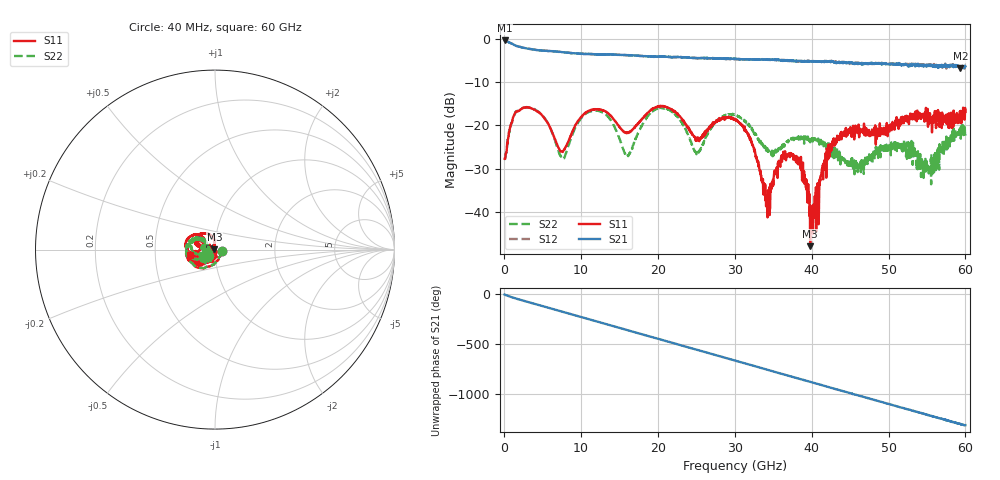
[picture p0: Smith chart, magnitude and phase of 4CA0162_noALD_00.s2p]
! File created by 'SoftPlot +Plus+ Measurement Management Software'
! SoftPlot +Plus+ Measurement Management Software
! Start 40.000000 MHz  Stop 60.000000 GHz  Points 1601
# MHZ S RI R 50
! S-Parameter data, F S11 S21 S12 S22
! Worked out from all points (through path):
!   1601 points, 40 MHz to 60 GHz, reference 50 ohm
!   highest |S21| = -0.39 dB at 40 MHz (marker M1); lowest = -6.8 dB at 59.36 GHz (marker M2)
!   group delay of S21, straight-line fit = 60.4 ps
!   lowest |S11| = -47.8 dB at 39.8 GHz (marker M3), VSWR 1.01, Z = 49.6 + j0.173 ohm
!   |S11| at or under -10 dB: start of sweep to end of sweep
!   |S22| runs from -33.6 to -15.8 dB; largest |S21 - S12| = 0.049
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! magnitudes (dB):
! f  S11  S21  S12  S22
! 40 MHz  -27.7  -0.4  -0.4  -27.7
! 2.214 GHz  -16.2  -1.9  -1.9  -16.2
! 4.987 GHz  -17.8  -2.7  -2.7  -17.7
! 7.572 GHz  -26.1  -3.1  -3.1  -27.6
! 10.05 GHz  -18.0  -3.5  -3.5  -18.2
! 13.16 GHz  -16.8  -3.7  -3.6  -17.4
! 16.04 GHz  -21.7  -3.8  -3.8  -27.0
! 20.05 GHz  -15.6  -4.1  -4.1  -16.0
! 25.04 GHz  -22.9  -4.5  -4.4  -26.3
! 30.02 GHz  -18.7  -4.6  -4.6  -17.5
! 32.23 GHz  -24.2  -4.8  -4.7  -20.6
! 34.29 GHz  -38.1  -4.8  -4.8  -26.1
! 37.29 GHz  -26.8  -5.1  -5.0  -23.2
! 38.71 GHz  -29.6  -5.1  -5.2  -23.0
! 39.8 GHz  -47.8  -5.2  -5.0  -23.9
! 40.03 GHz  -40.8  -5.2  -5.2  -23.0
! 43.02 GHz  -23.4  -5.5  -5.3  -25.2
! 45.68 GHz  -20.0  -5.8  -5.5  -30.1
! 50.03 GHz  -20.5  -5.9  -5.8  -24.7
! 55.24 GHz  -17.2  -6.3  -6.0  -31.1
! 59.36 GHz  -16.6  -6.8  -6.0  -20.5
! 60 GHz  -16.9  -6.3  -6.3  -22.0
